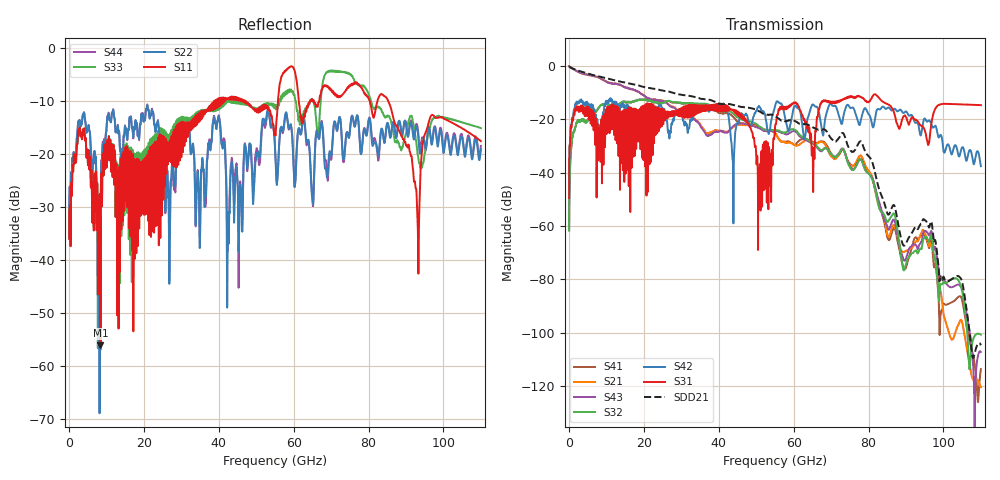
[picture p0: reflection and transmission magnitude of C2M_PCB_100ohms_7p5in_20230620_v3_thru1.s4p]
! Info: Touchstone file created by Circ.  Input file=C2M_PCB_100ohms_7p5in_20230620_v3.circ
# Hz S RI R 50
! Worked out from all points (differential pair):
!   11000 points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, 10 MHz to 110 GHz, reference 50 ohm
!   strongest paths, dB at 10 MHz, 27.51 GHz, 55.01 GHz, 82.51 GHz, 110 GHz:
!     S31: -49.5, -17.8, -22.9, -11.6, -14.7
!     S42: -49.4, -21.9, -15.0, -16.1, -37.6
!     S32: -61.6, -13.6, -24.1, -51.4, -100.7
!     S43: -0.1, -15.4, -24.5, -49.6, -107.1
!     S21: -0.1, -15.1, -25.1, -51.4, -120.3
!     S41: -61.6, -13.8, -25.3, -50.4, -113.6
!   taken as a pair (ports 3,1 in; 4,2 out), SDD21 dB: -0.1, -10.0, -18.8, -44.7, -104.7
!   lowest |S11| = -56.0 dB at 8.39 GHz (marker M1), VSWR 1.00, Z = 49.8 + j0.0418 ohm
!   |S11| at or under -10 dB: start of sweep to 38.69 GHz; 47.31 GHz to 55.76 GHz (8.452 GHz wide, 16.4 % of centre); 85.26 GHz to end of sweep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
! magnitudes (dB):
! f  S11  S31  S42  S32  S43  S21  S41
! 10 MHz  -35.9  -49.5  -49.4  -61.6  -0.1  -0.1  -61.6
! 8.39 GHz  -56.0  -33.1  -24.9  -14.8  -4.7  -4.7  -14.8
! 41.95 GHz  -9.6  -14.8  -16.4  -16.9  -25.0  -24.6  -17.7
! 50.7 GHz  -11.3  -39.9  -15.0  -22.6  -23.3  -23.0  -23.2
! 77.91 GHz  -7.3  -11.7  -20.5  -34.9  -35.0  -33.6  -33.7
! 89.49 GHz  -17.4  -18.8  -17.5  -76.5  -72.9  -69.7  -76.0
! 110 GHz  -17.5  -14.7  -37.6  -100.7  -107.1  -120.3  -113.6
